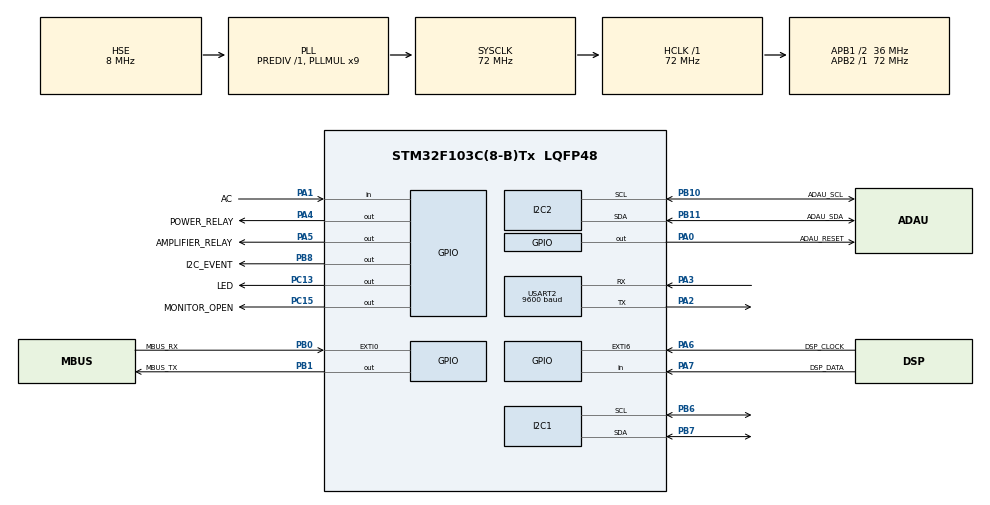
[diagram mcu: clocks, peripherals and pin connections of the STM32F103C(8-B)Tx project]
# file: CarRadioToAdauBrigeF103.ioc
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I2C1.I2C_Mode=I2C_Standard
I2C1.NoStretchMode=I2C_NOSTRETCH_DISABLE
I2C1.OwnAddress=8
Mcu.Family=STM32F1
Mcu.Name=STM32F103C(8-B)Tx
Mcu.Package=LQFP48
NVIC.EXTI0_IRQn=true\:15\:0\:true\:true\:true\:1\:true\:true\:true
NVIC.EXTI9_5_IRQn=true\:0\:0\:true\:true\:true\:2\:true\:true\:true
NVIC.I2C1_ER_IRQn=true\:14\:0\:true\:false\:true\:true\:true\:true
NVIC.I2C1_EV_IRQn=true\:14\:0\:true\:false\:true\:true\:true\:true
NVIC.PriorityGroup=NVIC_PRIORITYGROUP_4
NVIC.USART2_IRQn=true\:0\:0\:true\:false\:true\:true\:true\:true
PA0-WKUP.GPIO_Label=ADAU_RESET
PA0-WKUP.PinState=GPIO_PIN_SET
PA0-WKUP.Signal=GPIO_Output
PA1.GPIO_Label=AC
PA1.GPIO_PuPd=GPIO_PULLDOWN
PA1.Signal=GPIO_Input
PA13.Mode=Serial_Wire
PA13.Signal=SYS_JTMS-SWDIO
PA14.Mode=Serial_Wire
PA14.Signal=SYS_JTCK-SWCLK
PA2.Mode=Asynchronous
PA2.Signal=USART2_TX
PA3.Mode=Asynchronous
PA3.Signal=USART2_RX
PA4.GPIO_Label=POWER_RELAY
PA4.GPIO_PuPd=GPIO_PULLDOWN
PA4.PinState=GPIO_PIN_SET
PA4.Signal=GPIO_Output
PA5.GPIO_Label=AMPLIFIER_RELAY
PA5.GPIO_PuPd=GPIO_PULLDOWN
PA5.PinState=GPIO_PIN_RESET
PA5.Signal=GPIO_Output
PA6.GPIO_Label=DSP_CLOCK
PA6.GPIO_ModeDefaultEXTI=GPIO_MODE_IT_RISING
PA6.GPIO_PuPd=GPIO_PULLDOWN
PA6.Signal=GPXTI6
PA7.GPIO_Label=DSP_DATA
PA7.GPIO_PuPd=GPIO_PULLDOWN
PA7.Signal=GPIO_Input
PB0.GPIO_Label=MBUS_RX
PB0.GPIO_ModeDefaultEXTI=GPIO_MODE_IT_FALLING
PB0.GPIO_PuPd=GPIO_PULLUP
PB0.Signal=GPXTI0
PB1.GPIO_Label=MBUS_TX
PB1.GPIO_PuPd=GPIO_PULLDOWN
PB1.GPIO_Speed=GPIO_SPEED_FREQ_HIGH
PB1.Signal=GPIO_Output
PB10.GPIO_Label=ADAU_SCL
PB10.GPIO_Pu=GPIO_PULLUP
PB10.Mode=I2C
PB10.Signal=I2C2_SCL
PB11.GPIO_Label=ADAU_SDA
PB11.GPIO_Pu=GPIO_PULLUP
PB11.Mode=I2C
PB11.Signal=I2C2_SDA
PB6.GPIO_Pu=GPIO_PULLUP
PB6.Mode=I2C
PB6.Signal=I2C1_SCL
PB7.GPIO_Pu=GPIO_PULLUP
PB7.Mode=I2C
PB7.Signal=I2C1_SDA
PB8.GPIO_Label=I2C_EVENT
PB8.GPIO_ModeDefaultOutputPP=GPIO_MODE_OUTPUT_PP
PB8.GPIO_PuPd=GPIO_PULLDOWN
PB8.GPIO_Speed=GPIO_SPEED_FREQ_MEDIUM
PB8.Signal=GPIO_Output
PC13-TAMPER-RTC.GPIO_Label=LED
PC13-TAMPER-RTC.PinState=GPIO_PIN_RESET
PC13-TAMPER-RTC.Signal=GPIO_Output
PC15-OSC32_OUT.GPIO_Label=MONITOR_OPEN
PC15-OSC32_OUT.GPIO_PuPd=GPIO_PULLDOWN
PC15-OSC32_OUT.Signal=GPIO_Output
PD0-OSC_IN.Mode=HSE-External-Oscillator
PD0-OSC_IN.Signal=RCC_OSC_IN
PD1-OSC_OUT.Mode=HSE-External-Oscillator
PD1-OSC_OUT.Signal=RCC_OSC_OUT
ProjectManager.HeapSize=0x200
ProjectManager.StackSize=0x400
ProjectManager.TargetToolchain=STM32CubeIDE
RCC.AHBFreq_Value=72000000
RCC.APB1CLKDivider=RCC_HCLK_DIV2
RCC.APB1Freq_Value=36000000
RCC.APB1TimFreq_Value=72000000
RCC.APB2Freq_Value=72000000
RCC.APB2TimFreq_Value=72000000
RCC.HCLKFreq_Value=72000000
RCC.PLLMUL=RCC_PLL_MUL9
RCC.PLLSourceVirtual=RCC_PLLSOURCE_HSE
RCC.SYSCLKFreq_VALUE=72000000
RCC.SYSCLKSource=RCC_SYSCLKSOURCE_PLLCLK
RCC.USBFreq_Value=72000000
TIM1.Prescaler=72-1
TIM1.TIM_MasterOutputTrigger=TIM_TRGO_UPDATE
TIM4.Prescaler=36000-1
TIM4.TIM_MasterOutputTrigger=TIM_TRGO_UPDATE
USART2.BaudRate=9600
USART2.Mode=MODE_TX
USART2.VirtualMode=VM_ASYNC
VP_TIM1_VS_ClockSourceINT.Mode=Internal
VP_TIM4_VS_ClockSourceINT.Mode=Internal
board=custom

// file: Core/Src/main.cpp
/* USER CODE BEGIN Header */
/**
 ******************************************************************************
 * @file           : main.c
 * @brief          : Main program body
 ******************************************************************************
 * @attention
 *
 * <h2><center>&copy; Copyright (c) 2020 STMicroelectronics.
 * All rights reserved.</center></h2>
 *
 * This software component is licensed by ST under BSD 3-Clause license,
 * the "License"; You may not use this file except in compliance with the
 * License. You may obtain a copy of the License at:
 *                        opensource.org/licenses/BSD-3-Clause
 *
 ******************************************************************************
 */
/* USER CODE END Header */
#include "main.h"

/* USER CODE BEGIN Includes */
#include <SERIAL_LIB_STM32/Serial.h>
#include <MAZDA_EXT_CD_CHANGER_EMULATOR/ExtDeviceCommandReciver.h>
#include <MAZDA_CAR_RADIO_DSP_COMMAND_RECIVER/DspCommandReciver.h>
#include <ADAU_1701_LIB_STM32/SigmaDSP_parameters.h>
#include <PowerManager.h>
//#include <Android.h>
#include <main.h>
#include <SerialReciver.h>
//#include "string.h"
#include "RingBuffer.h"
/* USER CODE END Includes */

/* USER CODE BEGIN PD */
#define UART_MODE true
#define I2C_MODE false
/* USER CODE END PD */

I2C_HandleTypeDef hi2c1;
I2C_HandleTypeDef hi2c2;

TIM_HandleTypeDef htim1;
TIM_HandleTypeDef htim4;

UART_HandleTypeDef huart2;

void SystemClock_Config(void);
static void MX_GPIO_Init(void);
static void MX_TIM4_Init(void);
static void MX_I2C2_Init(void);
static void MX_TIM1_Init(void);
static void MX_I2C1_Init(void);
static void MX_USART2_UART_Init(void);
static void MX_NVIC_Init(void);

/* USER CODE BEGIN 0 */
// android commands
const char connected[] = "kg.serial.manager.connection_established";
const char disconnected[] = "kg.serial.manager.connection_lost";

const char *play = "<MEDIA:PLAY>";
const char *stop = "<MEDIA:STOP>";
const char *next = "<MEDIA:NEXT>";
const char *prev = "<MEDIA:PREV>";
const char *shutdown = "<MEDIA:SHUTDOWN>";
const char *ping = UART_MODE ? "<MEDIA:PING>\n" : "<MEDIA:PING>";

const char *adauResetCmd = "rAdau";
const char *stmResetCmd = "rStm";
const char *debugCmd = "debug";
const char *pong = "pong";

char tmp[50];

bool debug = true;
bool playing = false;

uint32_t lastPingTime = 0;
uint32_t lastPongTime = 0;
bool androidConnected = false;

// i2c состояние
int state = 0;

//отправка данных на экран
uint32_t sysTime = 0;
int volumeLastValue = 0;
bool sendAdauLastStatus = false;
static uint32_t sendTimePeriod = 5300;

//управление каналом включения услилителей (и глобальным mute)
uint32_t amplifierStartTimePeriod = 10000;
bool amplifierReadyToStart = false;
bool amplifierStarted = false;
uint32_t amplifierStartTime = 0;

//Управление открытием монитора
bool monitorOpen = false;

bool muteRadio = false;
bool muteAndroid = false;

int lastVolumeChanged = 0;

int lastInfoSend = 0;

SigmaDSP dsp(&hi2c2, DSP_I2C_ADDRESS, ADAU1701, GPIOA, ADAU_RESET_Pin, NULL, addToBuffer);
DspCommandReciver dspCommandReciver(GPIOA, DSP_CLOCK_Pin, GPIOA, DSP_DATA_Pin, NULL, addToBuffer);
ExtDeviceCommandReciver extDeviceCommandReciver(GPIOB, MBUS_RX_Pin, GPIOB, MBUS_TX_Pin, &htim1, NULL, playTrack, stopTrack, nextTrack, prevTrack, addToBuffer);
PowerManager powerManager(GPIOA, AC_Pin, GPIOA, POWER_RELAY_Pin, NULL, accOn, accOff, waitOff, off, addToBuffer);
SerialReciver serialReciver(&huart2);
Serial serial(&huart2);

RingBuffer infoBuffer;
RingBuffer commandBuffer;
RingBuffer inputDataBuffer;

/* USER CODE END 0 */

int main(void) {

	/* MCU Configuration--------------------------------------------------------*/

	/* Reset of all peripherals, Initializes the Flash interface and the Systick. */
	HAL_Init();

	/* Configure the system clock */
	SystemClock_Config();

	/* Initialize all configured peripherals */
	MX_GPIO_Init();
	MX_TIM4_Init();
	MX_I2C2_Init();
	MX_TIM1_Init();
	MX_I2C1_Init();
	MX_USART2_UART_Init();

	/* Initialize interrupts */
	MX_NVIC_Init();
	/* USER CODE BEGIN 2 */

	extDeviceCommandReciver.startTimer();

	HAL_Delay(100);

	inputDataBuffer.enableWrite(true);
	commandBuffer.enableWrite(androidConnected);
	infoBuffer.enableWrite(debug);
	infoBuffer.add("[stm32] started");

	resetAdauCmd();

	if (UART_MODE) {
		__HAL_UART_ENABLE_IT(&huart2, UART_IT_RXNE); // включить прерывания usart'a
	}
	if (I2C_MODE) {
		HAL_I2C_EnableListen_IT(&hi2c1);
	}
	/* USER CODE END 2 */

	/* Infinite loop */
	/* USER CODE BEGIN WHILE */
	while (1) {
		powerManager.powerProcessing();
		volumeProcessing();
		muteProcessing();
		timeProcessing();
		monitorProcessing();
		amplifierProcessing();
		executeInputCmd();

		cmdInfoToBuffer();

		if (I2C_MODE) {
			if (androidConnected) { //
				setupReadFlagGPIO(!infoBuffer.isEmpty() || !commandBuffer.isEmpty());
			} else if (HAL_GetTick() - lastPingTime > 2000) {
				setupReadFlagGPIO(true);
			}
			processI2C();
		}

		if (UART_MODE) {
			processUART();
		}

		checkConnection();
		/* USER CODE END WHILE */

	}
}

void SystemClock_Config(void) {
	RCC_OscInitTypeDef RCC_OscInitStruct = { 0 };
	RCC_ClkInitTypeDef RCC_ClkInitStruct = { 0 };

	/** Initializes the RCC Oscillators according to the specified parameters
	 * in the RCC_OscInitTypeDef structure.
	 */
	RCC_OscInitStruct.OscillatorType = RCC_OSCILLATORTYPE_HSE;
	RCC_OscInitStruct.HSEState = RCC_HSE_ON;
	RCC_OscInitStruct.HSEPredivValue = RCC_HSE_PREDIV_DIV1;
	RCC_OscInitStruct.HSIState = RCC_HSI_ON;
	RCC_OscInitStruct.PLL.PLLState = RCC_PLL_ON;
	RCC_OscInitStruct.PLL.PLLSource = RCC_PLLSOURCE_HSE;
	RCC_OscInitStruct.PLL.PLLMUL = RCC_PLL_MUL9;
	if (HAL_RCC_OscConfig(&RCC_OscInitStruct) != HAL_OK) {
		Error_Handler();
	}

	/** Initializes the CPU, AHB and APB buses clocks
	 */
	RCC_ClkInitStruct.ClockType = RCC_CLOCKTYPE_HCLK | RCC_CLOCKTYPE_SYSCLK | RCC_CLOCKTYPE_PCLK1 | RCC_CLOCKTYPE_PCLK2;
	RCC_ClkInitStruct.SYSCLKSource = RCC_SYSCLKSOURCE_PLLCLK;
	RCC_ClkInitStruct.AHBCLKDivider = RCC_SYSCLK_DIV1;
	RCC_ClkInitStruct.APB1CLKDivider = RCC_HCLK_DIV2;
	RCC_ClkInitStruct.APB2CLKDivider = RCC_HCLK_DIV1;

	if (HAL_RCC_ClockConfig(&RCC_ClkInitStruct, FLASH_LATENCY_2) != HAL_OK) {
		Error_Handler();
	}
}

/**
 * @brief NVIC Configuration.
 * @retval None
 */
static void MX_NVIC_Init(void) {
	/* EXTI0_IRQn interrupt configuration */
	HAL_NVIC_SetPriority(EXTI0_IRQn, 15, 0);
	HAL_NVIC_EnableIRQ(EXTI0_IRQn);
	/* EXTI9_5_IRQn interrupt configuration */
	HAL_NVIC_SetPriority(EXTI9_5_IRQn, 0, 0);
	HAL_NVIC_EnableIRQ(EXTI9_5_IRQn);
}

static void MX_I2C1_Init(void) {

	hi2c1.Instance = I2C1;
	hi2c1.Init.ClockSpeed = 100000;
	hi2c1.Init.DutyCycle = I2C_DUTYCYCLE_2;
	hi2c1.Init.OwnAddress1 = 16;
	hi2c1.Init.AddressingMode = I2C_ADDRESSINGMODE_7BIT;
	hi2c1.Init.DualAddressMode = I2C_DUALADDRESS_DISABLE;
	hi2c1.Init.OwnAddress2 = 0;
	hi2c1.Init.GeneralCallMode = I2C_GENERALCALL_DISABLE;
	hi2c1.Init.NoStretchMode = I2C_NOSTRETCH_DISABLE;
	if (HAL_I2C_Init(&hi2c1) != HAL_OK) {
		Error_Handler();
	}

}

static void MX_I2C2_Init(void) {

	hi2c2.Instance = I2C2;
	hi2c2.Init.ClockSpeed = 100000;
	hi2c2.Init.DutyCycle = I2C_DUTYCYCLE_2;
	hi2c2.Init.OwnAddress1 = 0;
	hi2c2.Init.AddressingMode = I2C_ADDRESSINGMODE_7BIT;
	hi2c2.Init.DualAddressMode = I2C_DUALADDRESS_DISABLE;
	hi2c2.Init.OwnAddress2 = 0;
	hi2c2.Init.GeneralCallMode = I2C_GENERALCALL_DISABLE;
	hi2c2.Init.NoStretchMode = I2C_NOSTRETCH_DISABLE;
	if (HAL_I2C_Init(&hi2c2) != HAL_OK) {
		Error_Handler();
	}

}

static void MX_TIM1_Init(void) {

	TIM_ClockConfigTypeDef sClockSourceConfig = { 0 };
	TIM_MasterConfigTypeDef sMasterConfig = { 0 };

	htim1.Instance = TIM1;
	htim1.Init.Prescaler = 72 - 1;
	htim1.Init.CounterMode = TIM_COUNTERMODE_UP;
	htim1.Init.Period = 65535;
	htim1.Init.ClockDivision = TIM_CLOCKDIVISION_DIV1;
	htim1.Init.RepetitionCounter = 0;
	htim1.Init.AutoReloadPreload = TIM_AUTORELOAD_PRELOAD_DISABLE;
	if (HAL_TIM_Base_Init(&htim1) != HAL_OK) {
		Error_Handler();
	}
	sClockSourceConfig.ClockSource = TIM_CLOCKSOURCE_INTERNAL;
	if (HAL_TIM_ConfigClockSource(&htim1, &sClockSourceConfig) != HAL_OK) {
		Error_Handler();
	}
	sMasterConfig.MasterOutputTrigger = TIM_TRGO_UPDATE;
	sMasterConfig.MasterSlaveMode = TIM_MASTERSLAVEMODE_DISABLE;
	if (HAL_TIMEx_MasterConfigSynchronization(&htim1, &sMasterConfig) != HAL_OK) {
		Error_Handler();
	}

}

static void MX_TIM4_Init(void) {

	TIM_ClockConfigTypeDef sClockSourceConfig = { 0 };
	TIM_MasterConfigTypeDef sMasterConfig = { 0 };

	htim4.Instance = TIM4;
	htim4.Init.Prescaler = 36000 - 1;
	htim4.Init.CounterMode = TIM_COUNTERMODE_UP;
	htim4.Init.Period = 65535;
	htim4.Init.ClockDivision = TIM_CLOCKDIVISION_DIV1;
	htim4.Init.AutoReloadPreload = TIM_AUTORELOAD_PRELOAD_DISABLE;
	if (HAL_TIM_Base_Init(&htim4) != HAL_OK) {
		Error_Handler();
	}
	sClockSourceConfig.ClockSource = TIM_CLOCKSOURCE_INTERNAL;
	if (HAL_TIM_ConfigClockSource(&htim4, &sClockSourceConfig) != HAL_OK) {
		Error_Handler();
	}
	sMasterConfig.MasterOutputTrigger = TIM_TRGO_UPDATE;
	sMasterConfig.MasterSlaveMode = TIM_MASTERSLAVEMODE_DISABLE;
	if (HAL_TIMEx_MasterConfigSynchronization(&htim4, &sMasterConfig) != HAL_OK) {
		Error_Handler();
	}

}

static void MX_USART2_UART_Init(void) {

	huart2.Instance = USART2;
	huart2.Init.BaudRate = 115200;
	huart2.Init.WordLength = UART_WORDLENGTH_8B;
	huart2.Init.StopBits = UART_STOPBITS_1;
	huart2.Init.Parity = UART_PARITY_NONE;
	huart2.Init.Mode = UART_MODE_TX_RX;
	huart2.Init.HwFlowCtl = UART_HWCONTROL_NONE;
	huart2.Init.OverSampling = UART_OVERSAMPLING_16;
	if (HAL_UART_Init(&huart2) != HAL_OK) {
		Error_Handler();
	}

}

static void MX_GPIO_Init(void) {
	GPIO_InitTypeDef GPIO_InitStruct = { 0 };

	/* GPIO Ports Clock Enable */
	__HAL_RCC_GPIOC_CLK_ENABLE();
	__HAL_RCC_GPIOD_CLK_ENABLE();
	__HAL_RCC_GPIOA_CLK_ENABLE();
	__HAL_RCC_GPIOB_CLK_ENABLE();

	/*Configure GPIO pin Output Level */
	HAL_GPIO_WritePin(GPIOC, LED_Pin | MONITOR_OPEN_Pin, GPIO_PIN_RESET);

	/*Configure GPIO pin Output Level */
	HAL_GPIO_WritePin(GPIOA, ADAU_RESET_Pin | POWER_RELAY_Pin, GPIO_PIN_SET);

	/*Configure GPIO pin Output Level */
	HAL_GPIO_WritePin(AMPLIFIER_RELAY_GPIO_Port, AMPLIFIER_RELAY_Pin, GPIO_PIN_RESET);

	/*Configure GPIO pin Output Level */
	HAL_GPIO_WritePin(GPIOB, MBUS_TX_Pin | I2C_EVENT_Pin, GPIO_PIN_RESET);

	/*Configure GPIO pin : LED_Pin */
	GPIO_InitStruct.Pin = LED_Pin;
	GPIO_InitStruct.Mode = GPIO_MODE_OUTPUT_PP;
	GPIO_InitStruct.Pull = GPIO_NOPULL;
	GPIO_InitStruct.Speed = GPIO_SPEED_FREQ_LOW;
	HAL_GPIO_Init(LED_GPIO_Port, &GPIO_InitStruct);

	/*Configure GPIO pin : MONITOR_OPEN_Pin */
	GPIO_InitStruct.Pin = MONITOR_OPEN_Pin;
	GPIO_InitStruct.Mode = GPIO_MODE_OUTPUT_PP;
	GPIO_InitStruct.Pull = GPIO_PULLDOWN;
	GPIO_InitStruct.Speed = GPIO_SPEED_FREQ_LOW;
	HAL_GPIO_Init(MONITOR_OPEN_GPIO_Port, &GPIO_InitStruct);

	/*Configure GPIO pin : ADAU_RESET_Pin */
	GPIO_InitStruct.Pin = ADAU_RESET_Pin;
	GPIO_InitStruct.Mode = GPIO_MODE_OUTPUT_PP;
	GPIO_InitStruct.Pull = GPIO_NOPULL;
	GPIO_InitStruct.Speed = GPIO_SPEED_FREQ_LOW;
	HAL_GPIO_Init(ADAU_RESET_GPIO_Port, &GPIO_InitStruct);

	/*Configure GPIO pins : AC_Pin DSP_DATA_Pin */
	GPIO_InitStruct.Pin = AC_Pin | DSP_DATA_Pin;
	GPIO_InitStruct.Mode = GPIO_MODE_INPUT;
	GPIO_InitStruct.Pull = GPIO_PULLDOWN;
	HAL_GPIO_Init(GPIOA, &GPIO_InitStruct);

	/*Configure GPIO pins : POWER_RELAY_Pin AMPLIFIER_RELAY_Pin */
	GPIO_InitStruct.Pin = POWER_RELAY_Pin | AMPLIFIER_RELAY_Pin;
	GPIO_InitStruct.Mode = GPIO_MODE_OUTPUT_PP;
	GPIO_InitStruct.Pull = GPIO_PULLDOWN;
	GPIO_InitStruct.Speed = GPIO_SPEED_FREQ_LOW;
	HAL_GPIO_Init(GPIOA, &GPIO_InitStruct);

	/*Configure GPIO pin : DSP_CLOCK_Pin */
	GPIO_InitStruct.Pin = DSP_CLOCK_Pin;
	GPIO_InitStruct.Mode = GPIO_MODE_IT_RISING;
	GPIO_InitStruct.Pull = GPIO_PULLDOWN;
	HAL_GPIO_Init(DSP_CLOCK_GPIO_Port, &GPIO_InitStruct);

	/*Configure GPIO pin : MBUS_RX_Pin */
	GPIO_InitStruct.Pin = MBUS_RX_Pin;
	GPIO_InitStruct.Mode = GPIO_MODE_IT_FALLING;
	GPIO_InitStruct.Pull = GPIO_PULLUP;
	HAL_GPIO_Init(MBUS_RX_GPIO_Port, &GPIO_InitStruct);

	/*Configure GPIO pin : MBUS_TX_Pin */
	GPIO_InitStruct.Pin = MBUS_TX_Pin;
	GPIO_InitStruct.Mode = GPIO_MODE_OUTPUT_PP;
	GPIO_InitStruct.Pull = GPIO_PULLDOWN;
	GPIO_InitStruct.Speed = GPIO_SPEED_FREQ_HIGH;
	HAL_GPIO_Init(MBUS_TX_GPIO_Port, &GPIO_InitStruct);

	/*Configure GPIO pin : I2C_EVENT_Pin */
	GPIO_InitStruct.Pin = I2C_EVENT_Pin;
	GPIO_InitStruct.Mode = GPIO_MODE_OUTPUT_PP;
	GPIO_InitStruct.Pull = GPIO_PULLDOWN;
	GPIO_InitStruct.Speed = GPIO_SPEED_FREQ_MEDIUM;
	HAL_GPIO_Init(I2C_EVENT_GPIO_Port, &GPIO_InitStruct);

}

/* USER CODE BEGIN 4 */
void HAL_I2C_ListenCpltCallback(I2C_HandleTypeDef *hi2c) {
	HAL_I2C_EnableListen_IT(hi2c); // slave is ready again
}

void HAL_I2C_ErrorCallback(I2C_HandleTypeDef *hi2c) {

}

void HAL_I2C_AddrCallback(I2C_HandleTypeDef *hi2c, uint8_t TransferDirection, uint16_t AddrMatchCode) {
	UNUSED(AddrMatchCode);

	if (hi2c->Instance == I2C1) {
		switch (TransferDirection) {
		case I2C_DIRECTION_RECEIVE:
			state = 1;
			break;
		case I2C_DIRECTION_TRANSMIT:
			state = 2;
			break;
		};
	};
}

void setupReadFlagGPIO(bool enable) {
	HAL_GPIO_WritePin(GPIOB, GPIO_PIN_8, enable ? GPIO_PIN_SET : GPIO_PIN_RESET);
}

void executeInputCmd() {
	if (!inputDataBuffer.isEmpty()) {
		bool state = infoBuffer.isWriteEnabled();
		infoBuffer.enableWrite(true);

		char *buffItem = inputDataBuffer.get();
		if (strstr(buffItem, pong) != NULL || strstr(buffItem, connected) != NULL) {
			if (!androidConnected) {
				infoBuffer.add("[action] connected");
				androidConnected = true;
				commandBuffer.enableWrite(true);
				if (playing) {
					playTrack();
				}
			}
			lastPongTime = HAL_GetTick();
		} else if (strstr(buffItem, disconnected) != NULL) {
			infoBuffer.add("[action] disconnected");
			androidConnected = false;
			commandBuffer.enableWrite(false);
		} else if (strstr(buffItem, debugCmd) != NULL) {
			debug = !debug;
			state = debug;
			if (debug) {
				infoBuffer.add("[action] debug on");
			} else {
				infoBuffer.add("[action] debug off");
			}
		} else if (strstr(buffItem, adauResetCmd) != NULL) {
			infoBuffer.add("[action] reset adau1701");
			resetAdauCmd();
		} else if (strstr(buffItem, stmResetCmd) != NULL) {
			infoBuffer.add("[action] reset stm32");
			NVIC_SystemReset();
		}

		infoBuffer.enableWrite(state);
	}

}

void addToBuffer(char *str) {
	infoBuffer.add(str);
}

void processI2C() {
	switch (state) {
	case 1: {
		setupReadFlagGPIO(false);
		if (!androidConnected) {
			RingBuffer::clearArray(tmp, RingBuffer::getItemSize());
			for (uint i = 0; i < strlen(ping); i++) {
				tmp[i] = ping[i];
			}
			HAL_I2C_Slave_Sequential_Transmit_IT(&hi2c1, (uint8_t*) tmp, RingBuffer::getItemSize(), I2C_LAST_FRAME);
			lastPingTime = HAL_GetTick();
		} else {
			setupReadFlagGPIO(false);

			if (!commandBuffer.isEmpty()) {
				HAL_I2C_Slave_Sequential_Transmit_IT(&hi2c1, (uint8_t*) commandBuffer.get(), RingBuffer::getItemSize(), I2C_LAST_FRAME);
			} else {
				HAL_I2C_Slave_Sequential_Transmit_IT(&hi2c1, (uint8_t*) infoBuffer.get(), RingBuffer::getItemSize(), I2C_LAST_FRAME);
			}

			setupReadFlagGPIO(!infoBuffer.isEmpty() || !commandBuffer.isEmpty());
		}
		state = 0;
		break;
	}
	case 2: {
		RingBuffer::clearArray(tmp, RingBuffer::getItemSize());

		HAL_I2C_Slave_Sequential_Receive_IT(&hi2c1, (uint8_t*) &tmp, RingBuffer::getItemSize(), I2C_FIRST_FRAME);
		HAL_Delay(100);
		bool state = infoBuffer.isWriteEnabled();
		infoBuffer.enableWrite(true);
		infoBuffer.add("Received");
		infoBuffer.add(tmp);
		infoBuffer.enableWrite(state);

		inputDataBuffer.add(tmp);
		state = 0;
		break;
	}
	default:
		;
	}
}

void processUART() {
	if (!serialReciver.isEmpty()) {
		RingBuffer::clearArray(tmp, RingBuffer::getItemSize());
		serialReciver.getData(tmp, RingBuffer::getItemSize());

		bool state = infoBuffer.isWriteEnabled();
		infoBuffer.enableWrite(true);
		infoBuffer.add("Received");
		infoBuffer.add(tmp);
		infoBuffer.enableWrite(state);

		inputDataBuffer.add(tmp);
	}

	if (!androidConnected) {
		if (HAL_GetTick() - lastPingTime > 3000) {
			HAL_UART_Transmit(&huart2, (uint8_t*) ping, strlen(ping), 20);
			lastPingTime = HAL_GetTick();
		}
	} else {
		char *item;
		if (!commandBuffer.isEmpty()) {
			item = commandBuffer.get();
			HAL_UART_Transmit(&huart2, (uint8_t*) item, strlen(item), 20);
		} else if (!infoBuffer.isEmpty()) {
			item = infoBuffer.get();
			HAL_UART_Transmit(&huart2, (uint8_t*) item, strlen(item), 20);
		}
	}
}

void checkConnection() {
	if (androidConnected) {
		if (HAL_GetTick() - lastPongTime > 25000) {
			androidConnected = false;
			commandBuffer.enableWrite(false);
			infoBuffer.add("[action] disconnected");
		} else {
			if (HAL_GetTick() - lastPingTime > 15000) {
				infoBuffer.add(ping);
				lastPingTime = HAL_GetTick();
			}
		}
	}
}

void clearPendingInterrupt() {
	EXTI->PR = EXTI_PR_PR0; //Сбрасываем флаг прерывания
	NVIC_ClearPendingIRQ(EXTI0_IRQn);
	EXTI->PR = EXTI_PR_PR9; //Сбрасываем флаг прерывания
	NVIC_ClearPendingIRQ(EXTI9_5_IRQn);
}

void dataRequestInterrupt() {
	dspCommandReciver.readPackage();
//	clearPendingInterrupt();
}

void mBusRequestInterrupt() {
	extDeviceCommandReciver.commandProcessing();
	sysTime = HAL_GetTick();
//	clearPendingInterrupt();
}

void timeProcessing() {
	uint32_t newSysTime = HAL_GetTick();
	if (newSysTime - sysTime > sendTimePeriod && extDeviceCommandReciver.isPlaying()) {
		sysTime = newSysTime;
		HAL_NVIC_DisableIRQ(EXTI0_IRQn);
		extDeviceCommandReciver.sendTime(abs(volumeLastValue), sendAdauLastStatus ? 1 : 2);
		clearPendingInterrupt();
		HAL_NVIC_EnableIRQ(EXTI0_IRQn);
	}
}

void volumeProcessing() {
	if (dspCommandReciver.isChanged()) {
		if (HAL_GetTick() - lastVolumeChanged < 50) {
			return;
		}

		int8_t level1 = dspCommandReciver.getAbsoluteLevel(CH1);
		int8_t level2 = dspCommandReciver.getAbsoluteLevel(CH2);

		RingBuffer::clearArray(tmp, RingBuffer::getItemSize());
		snprintf(tmp, RingBuffer::getItemSize(), "%s%d%s%d", "[volume] changed (DB) CH1:", level1, " CH2:", level2);
		infoBuffer.add(tmp);

		bool connected = dsp.ping();
		if (!connected) {
			for (int i = 0; i < 5 && !connected; i++) {
				infoBuffer.add("[adau] reconnect");
				HAL_I2C_DeInit(&hi2c2);
				HAL_Delay(20);
				HAL_I2C_Init(&hi2c2);
				HAL_Delay(20);
				connected = dsp.ping();
			}
		}

		dspCommandReciver.resetChangedFlag();

		volumeLastValue = level1;
		sendAdauLastStatus = connected;

		if (!connected) {
			return;
		}
		HAL_Delay(20);
		dsp.twoChannelGain(MOD_DIGITALINPUTGAIN_ALG0_GAIN1940ALGNS8_ADDR, level1, level2);
		lastVolumeChanged = HAL_GetTick();
	}
}

void amplifierProcessing() {
	if (amplifierReadyToStart) {
		if (HAL_GetTick() - amplifierStartTime > amplifierStartTimePeriod && !HAL_GPIO_ReadPin(AMPLIFIER_RELAY_GPIO_Port, AMPLIFIER_RELAY_Pin)) {
			HAL_GPIO_WritePin(AMPLIFIER_RELAY_GPIO_Port, AMPLIFIER_RELAY_Pin, GPIO_PIN_SET);
			amplifierStarted = true;
			infoBuffer.add("[amplifier] power on");
		}
	} else if (HAL_GPIO_ReadPin(AMPLIFIER_RELAY_GPIO_Port, AMPLIFIER_RELAY_Pin)) {
		HAL_GPIO_WritePin(AMPLIFIER_RELAY_GPIO_Port, AMPLIFIER_RELAY_Pin, GPIO_PIN_RESET);
		amplifierStarted = false;
		infoBuffer.add("[amplifier] power off");
	}
}

void monitorProcessing() {
	if (monitorOpen) {
		if (!HAL_GPIO_ReadPin(MONITOR_OPEN_GPIO_Port, MONITOR_OPEN_Pin)) {
			HAL_GPIO_WritePin(MONITOR_OPEN_GPIO_Port, MONITOR_OPEN_Pin, GPIO_PIN_SET);
			infoBuffer.add("[monitor] open");
		}
	} else if (HAL_GPIO_ReadPin(MONITOR_OPEN_GPIO_Port, MONITOR_OPEN_Pin)) {
		HAL_GPIO_WritePin(MONITOR_OPEN_GPIO_Port, MONITOR_OPEN_Pin, GPIO_PIN_RESET);
		infoBuffer.add("[monitor] close");
	}
}

void accOn() {
	//через 10 сек вкл усилитель и снять mute
	amplifierReadyToStart = true;
	amplifierStartTime = HAL_GetTick();
	monitorOpen = true;
}

void accOff() {
	amplifierReadyToStart = false;
	extDeviceCommandReciver.resetPlayingFlag();

	if (androidConnected) {
		commandBuffer.add(stop);
	}
//	android.stop();
}

void waitOff() {
	if (androidConnected) {
		commandBuffer.add(shutdown);
	}
	monitorOpen = false;
//	android.shutdown();
}

void off() {
}

void playTrack() {
	playing = true;
	if (androidConnected) {
		commandBuffer.add(play);
	}
//	android.play();
}

void stopTrack() {
	playing = false;
	if (androidConnected) {
		commandBuffer.add(stop);
	}
//	android.stop();
}

void nextTrack() {
	if (androidConnected) {
		commandBuffer.add(next);
	}
//	android.next();
}

void prevTrack() {
	if (androidConnected) {
		commandBuffer.add(prev);
	}
//	android.prev();
}

void uartRequestInterrupt() {
	serialReciver.reciveInterruptHandler();
}

void resetAdauCmd() {
	dsp.reset();
	dspCommandReciver.setChangedFlag();
	HAL_Delay(100);
	lastVolumeChanged = HAL_GetTick();
}

void cmdInfoToBuffer() {
	if (HAL_GetTick() - lastInfoSend < 30000) {
		return;
	}

	RingBuffer::clearArray(tmp, RingBuffer::getItemSize());
	snprintf(tmp, RingBuffer::getItemSize(), "%s%s%s%s%s%s%c", "[Available commands] ", adauResetCmd, ", ", stmResetCmd, ", ", debugCmd, '\0');
	infoBuffer.add(tmp);

	lastInfoSend = HAL_GetTick();
}

void muteProcessing() {
	// если магнитола устанавливает уровень -94db и ниже, то это == общему mute
	if (volumeLastValue <= -94 || !amplifierStarted) {
		muteRadioFunc(true);
		muteAndroidFunc(true);
	} else {
//		режим с отключаемым андроидом
//		if (extDeviceCommandReciver.isPlaying()) { // Если на чейнджер была послана команда play, то считаем, что звук должен идти с него
//			muteRadioFunc(true);
//			muteAndroidFunc(false);
//		} else if (muteAndroid && muteRadio) {// если пришли сюда, то магнитола только включилась и везде mute, при этом уровень громкости не -94, усилители включены и к чейджеру не обращались
//			muteRadio = true; // принудительно взведем флаг muteRadio и скажем отключить mute
//			muteRadioFunc(false);
//			muteAndroidFunc(true);
//		} else {
//			muteRadioFunc(false);
//			muteAndroidFunc(true);
//		}

		//режим с не отключаемым андроидом
		//если на чейнджер была команда плей, то выключим радио, иначе включим радио
		if (extDeviceCommandReciver.isPlaying()) {
			muteRadioFunc(true);
		} else {
			if (muteAndroid && muteRadio) {
				// если пришли сюда, то магнитола только включилась и везде mute, при этом уровень громкости не -94, усилители включены и к чейджеру не обращались
				muteRadio = true;
			}
			muteRadioFunc(false);
		}
		// андроид включим всегда
		muteAndroidFunc(!androidConnected);
	}
}

void muteRadioFunc(bool mute) {
	if (!muteRadio && mute) {
		dsp.mute(MOD_MUTEANALOG_ALG0_MUTENOSLEWALG1MUTE_ADDR, true,
		MOD_MUTEANALOG_COUNT);
		muteRadio = true;
		infoBuffer.add("[volume] radio mute on");
	} else if (muteRadio && !mute) {
		dsp.mute(MOD_MUTEANALOG_ALG0_MUTENOSLEWALG1MUTE_ADDR, false,
		MOD_MUTEANALOG_COUNT);
		muteRadio = false;
		infoBuffer.add("[volume] radio mute off");
	}
}

void muteAndroidFunc(bool mute) {
	if (!muteAndroid && mute) {
		dsp.mute(MOD_MUTEDIGITAL_ALG0_MUTENOSLEWALG3MUTE_ADDR, true,
		MOD_MUTEDIGITAL_COUNT);
		muteAndroid = true;
		infoBuffer.add("[volume] android mute on");
	} else if (muteAndroid && !mute) {
		dsp.mute(MOD_MUTEDIGITAL_ALG0_MUTENOSLEWALG3MUTE_ADDR, false,
		MOD_MUTEDIGITAL_COUNT);
		muteAndroid = false;
		infoBuffer.add("[volume] android mute off");
	}
}

/* USER CODE END 4 */

void Error_Handler(void) {
}
